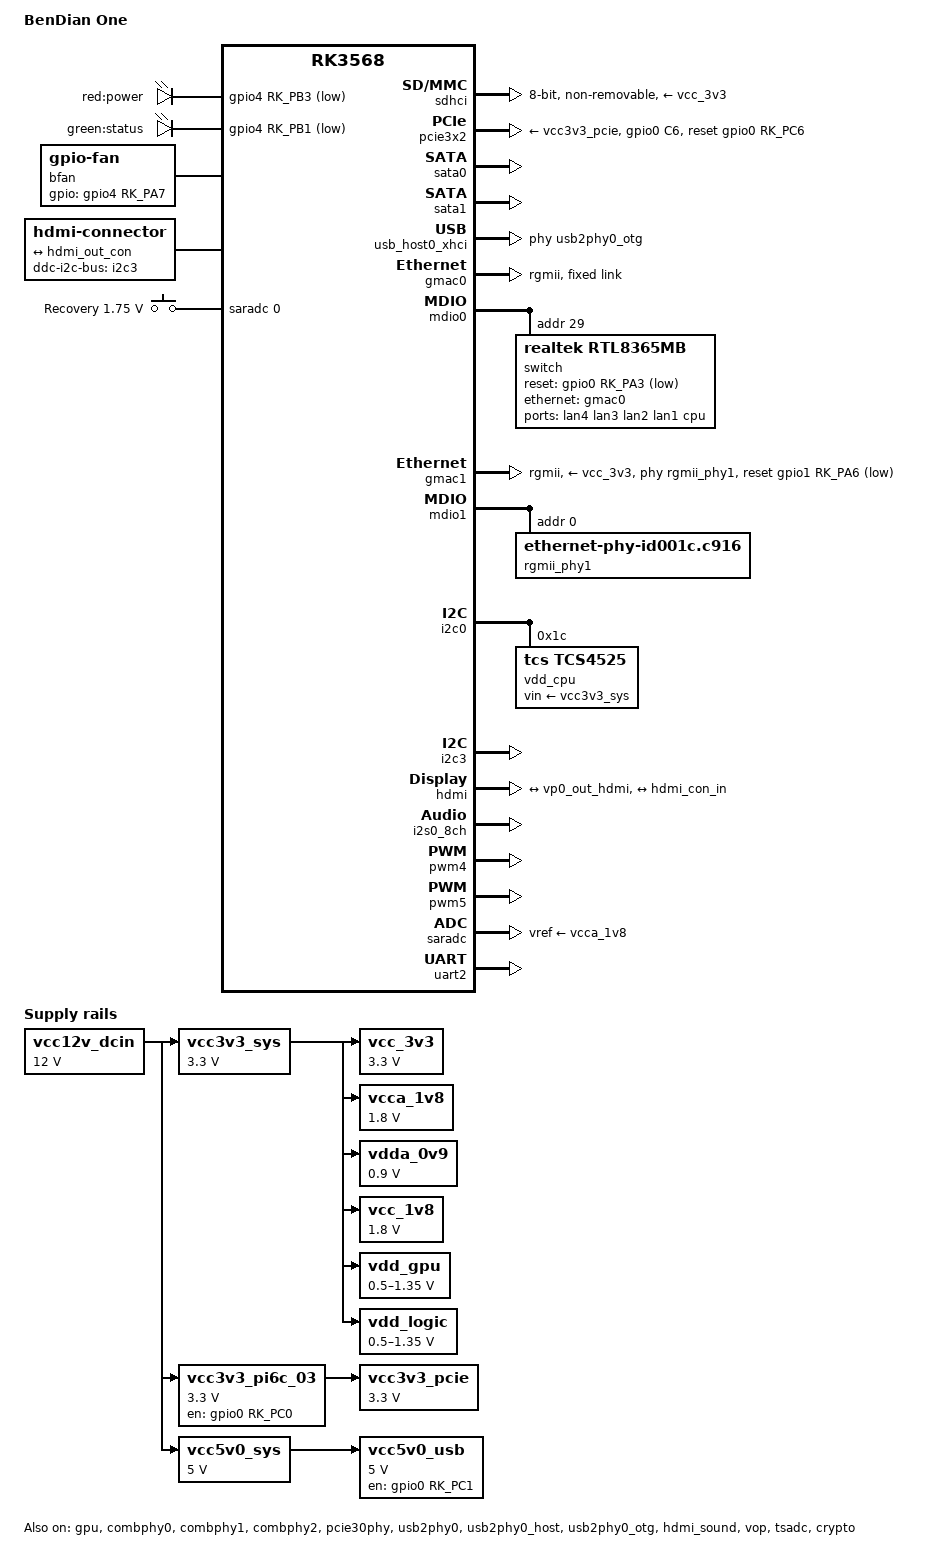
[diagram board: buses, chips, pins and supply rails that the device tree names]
// SPDX-License-Identifier: (GPL-2.0+ OR MIT)
/*
 * Copyright (c) 2024 BenDian Technology
 * Device Tree Source for BenDian One (RK3568)
 * Optimized for Linux 6.6 kernel compliance.
 * rk3568-bd-one.k6.6V1.1-2026.09.21-cnb@srv.wang
 *
 * arch/arm64/boot/dts/rockchip/Makefile
 *   dtb-$(CONFIG_ARCH_ROCKCHIP) += rk3568-bd-one.dtb
 *
 * Known issues (carried over from k6.6, to be debugged on 6.18):
 * 1、WAN 指示灯不工作；
 * 2、HDMI不工作；
 * 其他基本OK, 
 */

/dts-v1/;

#include <dt-bindings/gpio/gpio.h>
#include <dt-bindings/input/input.h>
#include <dt-bindings/leds/common.h>
#include <dt-bindings/pinctrl/rockchip.h>
#include <dt-bindings/soc/rockchip,vop2.h>
#include "rk3568.dtsi"

/ {
	model = "BenDian One";
	compatible = "bendian,bd-one", "rockchip,rk3568";

	aliases {
		ethernet0 = &gmac0;
		ethernet1 = &gmac1;
		mmc0 = &sdhci;
		led-boot     = &led_status;
		led-failsafe = &led_power;
		led-running  = &led_status;
		led-upgrade  = &led_power;
	};

	chosen {
		stdout-path = "serial2:1500000n8";
	};

	/* ---------------------------------------------------------------- */
	/*  Memory-reserved: CMA pool                                       */
	/* ---------------------------------------------------------------- */
	reserved-memory {
		#address-cells = <2>;
		#size-cells = <2>;
		ranges;

		cma: linux,cma {
			compatible = "shared-dma-pool";
			reusable;
			size = <0x0 0x10000000>;
			linux,cma-default;
		};
	};

	/* ---------------------------------------------------------------- */
	/*  LEDs                                                            */
	/* ---------------------------------------------------------------- */
	gpio-leds {
		compatible = "gpio-leds";
		pinctrl-names = "default";
		pinctrl-0 = <&power_led_pin &status_led_pin>;

		led_power: led-0 {
			label = "red:power";
			gpios = <&gpio4 RK_PB3 GPIO_ACTIVE_LOW>;
		};

		led_status: led-1 {
			label = "green:status";
			gpios = <&gpio4 RK_PB1 GPIO_ACTIVE_LOW>;
			linux,default-trigger = "heartbeat";
		};
	};

	/* ---------------------------------------------------------------- */
	/*  GPIO Fan                                                        */
	/* ---------------------------------------------------------------- */
	bfan: gpio-fan {
		compatible = "gpio-fan";
		gpios = <&gpio4 RK_PA7 GPIO_ACTIVE_HIGH>;
		gpio-fan,speed-map = <0 0 7500 1>;
		pinctrl-names = "default";
		pinctrl-0 = <&fan_pins>;
		#cooling-cells = <2>;
	};

	/* ---------------------------------------------------------------- */
	/*  HDMI connector                                                  */
	/* ---------------------------------------------------------------- */
	hdmi-con {
		compatible = "hdmi-connector";
		label = "hdmi";
		type = "a";
		status = "okay";
		ddc-i2c-bus = <&i2c3>;	/* DDC 走 I2C3，需要板子原理图确认 */

		port {
			hdmi_con_in: endpoint {
				remote-endpoint = <&hdmi_out_con>;
			};
		};
	};

	/* ---------------------------------------------------------------- */
	/*  ADC recovery button                                             */
	/* ---------------------------------------------------------------  */
	adc-keys {
		compatible = "adc-keys";
		io-channels = <&saradc 0>;
		io-channel-names = "buttons";
		keyup-threshold-microvolt = <1800000>;
		poll-interval = <100>;

		button-recovery {
			label = "Recovery";
			linux,code = <KEY_VENDOR>;
			press-threshold-microvolt = <1750000>;
		};
	};

	/* --------------------------------------------------------------- */
	/*  Power supply rails                                             */
	/* --------------------------------------------------------------- */
	vcc12v_dcin: vcc12v-dcin {
		compatible = "regulator-fixed";
		regulator-name = "vcc12v_dcin";
		regulator-always-on;
		regulator-boot-on;
		regulator-min-microvolt = <12000000>;
		regulator-max-microvolt = <12000000>;
	};

	vcc3v3_sys: vcc3v3-sys {
		compatible = "regulator-fixed";
		regulator-name = "vcc3v3_sys";
		regulator-always-on;
		regulator-boot-on;
		regulator-min-microvolt = <3300000>;
		regulator-max-microvolt = <3300000>;
		vin-supply = <&vcc12v_dcin>;
	};

	/* PCIe 3.0 SSD power:
	* GPIO0_B0 enable → vcc3v3_pi6c_03 → vcc3v3_pcie 
	*/
	vcc3v3_pi6c_03: vcc3v3-pi6c-03 {
		compatible = "regulator-fixed";
		regulator-name = "vcc3v3_pi6c_03";
		enable-active-high;
		gpios = <&gpio0 RK_PC0 GPIO_ACTIVE_HIGH>;
		pinctrl-names = "default";
		pinctrl-0 = <&ssd_pwr_en>;
		regulator-min-microvolt = <3300000>;
		regulator-max-microvolt = <3300000>;
		vin-supply = <&vcc12v_dcin>;
		regulator-enable-ramp-delay = <2000>;
	};

	vcc3v3_pcie: vcc3v3-pcie {
		compatible = "regulator-fixed";
		regulator-name = "vcc3v3_pcie";
		regulator-always-on;
		regulator-boot-on;
		regulator-min-microvolt = <3300000>;
		regulator-max-microvolt = <3300000>;
		vin-supply = <&vcc3v3_pi6c_03>;
	};

	vcc5v0_sys: vcc5v0-sys {
		compatible = "regulator-fixed";
		regulator-name = "vcc5v0_sys";
		regulator-always-on;
		regulator-boot-on;
		regulator-min-microvolt = <5000000>;
		regulator-max-microvolt = <5000000>;
		vin-supply = <&vcc12v_dcin>;
	};

	/* 5V USB power controlled by GPIO0_B1 */
	vcc5v0_usb: vcc5v0-usb {
		compatible = "regulator-fixed";
		regulator-name = "vcc5v0_usb";
		enable-active-high;
		gpios = <&gpio0 RK_PC1 GPIO_ACTIVE_HIGH>;
		pinctrl-names = "default";
		pinctrl-0 = <&usb_pwr_en>;
		regulator-min-microvolt = <5000000>;
		regulator-max-microvolt = <5000000>;
		vin-supply = <&vcc5v0_sys>;
	};

	vcc_3v3: vcc-3v3 {
		compatible = "regulator-fixed";
		regulator-name = "vcc_3v3";
		regulator-always-on;
		regulator-boot-on;
		regulator-min-microvolt = <3300000>;
		regulator-max-microvolt = <3300000>;
		vin-supply = <&vcc3v3_sys>;
	};

	vcca_1v8: vcca-1v8 {
		compatible = "regulator-fixed";
		regulator-name = "vcca_1v8";
		regulator-always-on;
		regulator-boot-on;
		regulator-min-microvolt = <1800000>;
		regulator-max-microvolt = <1800000>;
		vin-supply = <&vcc3v3_sys>;
	};

	vdda_0v9: vdda-0v9 {
		compatible = "regulator-fixed";
		regulator-name = "vdda_0v9";
		regulator-always-on;
		regulator-boot-on;
		regulator-min-microvolt = <900000>;
		regulator-max-microvolt = <900000>;
		vin-supply = <&vcc3v3_sys>;
	};

	/* 1.8V IO rail — board fixed regulator (NOT RK809 DCDC) */
	vcc_1v8: vcc-1v8 {
		compatible = "regulator-fixed";
		regulator-name = "vcc_1v8";
		regulator-always-on;
		regulator-boot-on;
		regulator-min-microvolt = <1800000>;
		regulator-max-microvolt = <1800000>;
		vin-supply = <&vcc3v3_sys>;
	};

	
	/* GPU core — PWM regulator on PWM4 (per factory DTS, NOT RK809) */
	vdd_gpu: vdd-gpu {
		compatible = "pwm-regulator";
		pwms = <&pwm4 0 5000 1>;
		pwm-supply = <&vcc3v3_sys>;
		regulator-name = "vdd_gpu";
		// regulator-always-on;
		// regulator-boot-on;
		regulator-init-microvolt = <900000>;
		regulator-min-microvolt = <500000>;
		regulator-max-microvolt = <1350000>;
		regulator-ramp-delay = <6001>;
		regulator-settling-time-up-us = <250>;
	};

	/* Logic core — PWM regulator on PWM5 (per factory DTS, NOT RK809) */
	vdd_logic: vdd-logic {
		compatible = "pwm-regulator";
		pwms = <&pwm5 0 5000 1>;
		pwm-supply = <&vcc3v3_sys>;
		regulator-name = "vdd_logic";
		// regulator-always-on;
		// regulator-boot-on;
		regulator-init-microvolt = <900000>;
		regulator-min-microvolt = <500000>;
		regulator-max-microvolt = <1350000>;
		regulator-ramp-delay = <6001>;
		regulator-settling-time-up-us = <250>;
	};
};

&cpu0_opp_table {
	opp-1992000000 {
		opp-hz = /bits/ 64 <1992000000>;
		opp-microvolt = <1050000 1050000 1150000>;
	};
};

/* ====================================================================== */
/*  CPU / GPU power domains                                               */
/* ====================================================================== */
&cpu0 {
	cpu-supply = <&vdd_cpu>;
};

&cpu1 {
	cpu-supply = <&vdd_cpu>;
};

&cpu2 {
	cpu-supply = <&vdd_cpu>;
};

&cpu3 {
	cpu-supply = <&vdd_cpu>;
};

&gpu {
	mali-supply = <&vdd_gpu>;
	status = "okay";
};

/* ====================================================================== */
/*  eMMC -OK  use hs200 mode                                              */
/* ====================================================================== */
&sdhci {
	bus-width = <8>;
	max-frequency = <200000000>;
	non-removable;
	pinctrl-names = "default";
	pinctrl-0 = <&emmc_bus8 &emmc_clk &emmc_cmd>;
	mmc-hs200-1_8v;
	vmmc-supply = <&vcc_3v3>;
	vqmmc-supply = <&vcc_1v8>;
	status = "okay";
};

/* ====================================================================== */
/*  Combo PHYs                                                            */
/* ====================================================================== */
/* combphy0 → SATA0 */
&combphy0 {
	status = "okay";
};

/* combphy1 → SATA1 (port 1) / USB 3.0 OTG */
&combphy1 {
	status = "okay";
};

/* combphy2 → PCIe 2.0 (未使用) */
&combphy2 {
	status = "okay";
};

/* ====================================================================== */
/*  PCIe                                                                  */
/* ====================================================================== */
/* PCIe 2.0 x1 -原厂启用的*/
// 启用报：rockchip-dw-pcie 3c0000000.pcie: Phy link never came up
// &pcie2x1 {
// 	status = "okay";
// 	pinctrl-names = "default";
// 	pinctrl-0 = <&pcie20_reset_pin>;
// 	reset-gpios = <&gpio3 RK_PC1 GPIO_ACTIVE_HIGH>;
// 	vpcie3v3-supply = <&vcc3v3_sys>;
// };

/* PCIe 3.0 x2 — (available, e.g. dual NVMe or other) */
&pcie30phy {
	data-lanes = <1 2>;
	status = "okay";
};

&pcie3x2 {
	aspm-no-l0s;
	status = "okay";
	pinctrl-names = "default";
	pinctrl-0 = <&pcie30_reset_pin>;
	reset-gpios = <&gpio0 RK_PC6 GPIO_ACTIVE_HIGH>;
	reset-assert-us = <10000>;    /* reset 保持 10ms */
    	reset-deassert-us = <10000>;  /* reset 释放后等待 10ms */
	vpcie3v3-supply = <&vcc3v3_pcie>;
	
};

/* ====================================================================== */
/*  SATA      2个SATA接口                                                 */
/* ====================================================================== */
&sata0 {
	status = "okay";
};

&sata1 {
	status = "okay";
};

/* ====================================================================== */
/*  USB                                                                   */
/* ====================================================================== */
/* USB 3.0 OTG (Type-C / Type-A)，原厂是启用的，开启后报：
*  rockchip-naneng-combphy fe820000.phy: phy type select 4 overwriting type 1
config
CONFIG_USB_DWC3=y
CONFIG_USB_DWC3_HOST=y
CONFIG_USB_DWC3_OF_SIMPLE=y
*/
&usb2phy0 {
	status = "okay";
};

&usb2phy0_host {
	status = "okay";
	phy-supply = <&vcc5v0_usb>;
};

&usb2phy0_otg {
	status = "okay";
	phy-supply = <&vcc5v0_usb>;
};

&usb_host0_xhci {
	status = "okay";
	 /*核对原厂实际使用phy@fe820000  combphy0*/
	phys = <&usb2phy0_otg>, <&combphy0 PHY_TYPE_USB3>; 
	phy-names = "usb2-phy", "usb3-phy";
	extcon = <&usb2phy0>;
	//phys-supply = <&vcc_3v3>; 

};

/* USB 2.0 Host (EHCI/OHCI) */
// &usb2phy1 {
// 	status = "okay";
// };

// &usb2phy1_host {
// 	phy-supply = <&vcc5v0_usb>;
// 	status = "okay";
// };

// &usb2phy1_otg {
// 	status = "okay";
// };
// /* 原厂禁用前3项，禁用后报：
// * platform fd800000.usb: deferred probe pending
//  */
// &usb_host0_ehci {
// 	status = "okay";
// };

// &usb_host0_ohci {
// 	status = "okay";
// };

/* ====================================================================== */
/*  Ethernet                                                              */
/* ====================================================================== */
/*
 * GMAC0 — connected to RTL8365MB 5-port switch
 * 4× LAN ports (lan1~lan4) + 1× CPU port (port7, fixed 1Gbps)
 */
&gmac0 {
	assigned-clocks = <&cru SCLK_GMAC0_RX_TX>, <&cru CLK_MAC0_OUT>;
	assigned-clock-parents = <&cru SCLK_GMAC0_RGMII_SPEED>;
	assigned-clock-rates = <0>, <125000000>;
	clock_in_out = "output";
	phy-mode = "rgmii";
	pinctrl-names = "default";
	pinctrl-0 = <&gmac0_miim
		     &gmac0_tx_bus2
		     &gmac0_rx_bus2
		     &gmac0_rgmii_clk
		     &gmac0_rgmii_bus>;
	tx_delay = <0x4f>;
	rx_delay = <0x0f>;
	status = "okay";

	fixed-link {
		speed = <1000>;
		full-duplex;
	};
};

&mdio0 {
	compatible = "snps,dwmac-mdio";
	#address-cells = <1>;
	#size-cells = <0>;

	/* RTL8365MB 5-port switch */
	switch@1d {
		compatible = "realtek,rtl8365mb";
		reg = <0x1d>;
		reset-gpios = <&gpio0 RK_PA3 GPIO_ACTIVE_LOW>;

		switch_intc: interrupt-controller {
			interrupt-controller;
			#address-cells = <0>;
			#interrupt-cells = <1>;
			interrupt-parent = <&gpio0>;
			interrupts = <RK_PA4 IRQ_TYPE_LEVEL_LOW>;
		};

		ports {
			#address-cells = <1>;
			#size-cells = <0>;

			port@0 {
				reg = <0>;
				label = "lan4";
			};

			port@1 {
				reg = <1>;
				label = "lan3";
			};

			port@2 {
				reg = <2>;
				label = "lan2";
			};

			port@3 {
				reg = <3>;
				label = "lan1";
			};

			port@7 {
				reg = <7>;
				label = "cpu";
				ethernet = <&gmac0>;
				phy-mode = "rgmii";

				fixed-link {
					speed = <1000>;
					full-duplex;
				};
			};
		};
	};
};
/*
 * GMAC1 — direct RTL8211 PHY (1× WAN)
 */
&gmac1 {
	assigned-clocks = <&cru SCLK_GMAC1_RX_TX>, <&cru CLK_MAC1_OUT>;
	assigned-clock-parents = <&cru SCLK_GMAC1_RGMII_SPEED>;
	assigned-clock-rates = <0>, <125000000>;
	clock_in_out = "output";
	phy-mode = "rgmii";
	phy-handle = <&rgmii_phy1>;
	phy-supply = <&vcc_3v3>;
	pinctrl-names = "default";
	pinctrl-0 = <&gmac1m0_miim
		     &gmac1m0_tx_bus2
		     &gmac1m0_rx_bus2
		     &gmac1m0_rgmii_clk
		     &gmac1m0_rgmii_bus>;
	snps,reset-gpio = <&gpio1 RK_PA6 GPIO_ACTIVE_LOW>;
	snps,reset-active-low;
	snps,reset-delays-us = <0 20000 100000>;
	tx_delay = <0x4f>;
	rx_delay = <0x0f>;
	status = "okay";
};

&mdio1 {
	rgmii_phy1: ethernet-phy@0 {
		compatible = "ethernet-phy-id001c.c916", 
		 	     "ethernet-phy-ieee802.3-c22";
		reg = <0>;
		realtek,led-data = <0x17b>;
	};
};

/* ====================================================================== */
/*  I2C0 — CPU voltage regulator (TCS4525)                                */
/* ====================================================================== */
&i2c0 {
	status = "okay";

	vdd_cpu: regulator@1c {
		compatible = "tcs,tcs4525";
		reg = <0x1c>;
		fcs,suspend-voltage-selector = <1>;
		regulator-name = "vdd_cpu";
		regulator-always-on;
		regulator-boot-on;
		regulator-init-microvolt = <900000>;
		regulator-min-microvolt = <712500>;
		regulator-max-microvolt = <1390000>;
		regulator-ramp-delay = <2300>;
		vin-supply = <&vcc3v3_sys>;

		regulator-state-mem {
			regulator-off-in-suspend;
		};
	};

};

/* ====================================================================== */
/*  I2C3 — board peripherals                                             */
/* ====================================================================== */
&i2c3 {
	status = "okay";
};

/* ====================================================================== */
/*  HDMI                                                                  */
/* ====================================================================== */
&hdmi {
	avdd-0v9-supply = <&vdda_0v9>;
	avdd-1v8-supply = <&vcca_1v8>;
	ddc-i2c-bus = <&i2c3>;		/* 与 hdmi-con 保持一致 */
	status = "okay";

	ports {
		#address-cells = <1>;
		#size-cells = <0>;

		/* port@0 = 输入：从 VOP0 收视频数据 */
		port@0 {
			reg = <0>;
			#address-cells = <1>;
			#size-cells = <0>;

			hdmi_in_vp0: endpoint@0 {
				reg = <0>;
				remote-endpoint = <&vp0_out_hdmi>;
			};
		};

		/* port@1 = 输出：送到 HDMI 连接器 */
		port@1 {
			reg = <1>;
			#address-cells = <1>;
			#size-cells = <0>;

			hdmi_out_con: endpoint@0 {
				reg = <0>;
				remote-endpoint = <&hdmi_con_in>;
			};
		};
	};
};

&hdmi_sound {
	status = "okay";
};

/* ====================================================================== */
/*  VOP                                                                   */
/* ====================================================================== */
&vop {
	compatible = "rockchip,rk3568-vop";
	assigned-clocks = <&cru DCLK_VOP0>, <&cru DCLK_VOP1>;
	assigned-clock-parents = <&pmucru PLL_HPLL>, <&cru CLK_RTC_32K>;
	status = "okay";
};

&vp0 {
	vp0_out_hdmi: endpoint@ROCKCHIP_VOP2_EP_HDMI0 {
		reg = <ROCKCHIP_VOP2_EP_HDMI0>;
		remote-endpoint = <&hdmi_in_vp0>;
	};
};

&vop_mmu {
	status = "okay";
};

/* ====================================================================== */
/*  Audio (I2S0 → HDMI)                                                  */
/* ====================================================================== */
&i2s0_8ch {
	status = "okay";
};

/* ====================================================================== */
/*  PWM regulators                                                        */
/* ====================================================================== */
&pwm4 {
	status = "okay";
};

&pwm5 {
	status = "okay";
};

/* ====================================================================== */
/*  Thermal / TSADC                                                       */
/* ====================================================================== */
&tsadc {
	rockchip,hw-tshut-mode = <1>;    /* CRU reset */
	rockchip,hw-tshut-polarity = <0>;/* active low */
	status = "okay";
};

&cpu_thermal {

	trips {
		cpu_trip_active_low: cpu-trip-active-low {
			temperature = <55000>;
			hysteresis = <2000>;
			type = "active";
		};

		cpu_trip_active_med: cpu-trip-active-med {
			temperature = <70000>;
			hysteresis = <2000>;
			type = "active";
		};

		cpu_trip_active_high: cpu-trip-active-high {
			temperature = <85000>;
			hysteresis = <2000>;
			type = "hot";
		};
	};

	cooling-maps {

		cpu-active-low {
			cooling-device = <&bfan 1 1>;
			trip = <&cpu_trip_active_low>;
		};

		cpu-active-med {
			cooling-device = <&bfan 1 1>;
			trip = <&cpu_trip_active_med>;
		};

		cpu-active-high {
			cooling-device = <&bfan 1 1>;
			trip = <&cpu_trip_active_high>;
		};
	};
};

/* ====================================================================== */
/*  SARADC                                                                */
/* ====================================================================== */
&saradc {
	vref-supply = <&vcca_1v8>;
	status = "okay";
};

/* ====================================================================== */
/*  Crypto / RNG                                                          */
/* ====================================================================== */
&crypto {
	status = "okay";
};

/* ====================================================================== */
/*  IO Domains (PMU GRF)                                                  */
/* ====================================================================== */
&pmu_io_domains {
	compatible = "rockchip,rk3568-pmu-io-voltage-domain";
	status = "okay";
	pmuio1-supply = <&vcc_3v3>;
	pmuio2-supply = <&vcc_3v3>;
	vccio1-supply = <&vcc_3v3>;
	vccio2-supply = <&vcc_1v8>;
	vccio3-supply = <&vcc_3v3>;
	vccio4-supply = <&vcc_3v3>;
	vccio5-supply = <&vcc_3v3>;
	vccio6-supply = <&vcc_3v3>;
	vccio7-supply = <&vcc_3v3>;
};

/* ====================================================================== */
/*  UART2 — debug console                                                 */
/* ====================================================================== */
&uart2 {
	status = "okay";
};

/* ====================================================================== */
/*  Pinctrl additions                                                     */
/* ====================================================================== */
&pinctrl {

	fan {
		fan_pins: fan-pins {
			rockchip,pins = <4 RK_PA7 RK_FUNC_GPIO &pcfg_pull_none>;
		};
	};

	gpio-leds {
		power_led_pin: power-led-pin {
			rockchip,pins = <4 RK_PB3 RK_FUNC_GPIO &pcfg_pull_none>;
		};

		status_led_pin: status-led-pin {
			rockchip,pins = <4 RK_PB1 RK_FUNC_GPIO &pcfg_pull_none>;
		};
	};

	pcie20 {
		pcie20_reset_pin: pcie20-reset-pin {
			rockchip,pins = <3 RK_PC1 RK_FUNC_GPIO &pcfg_pull_down>;
		};
	};

	pcie30 {
		pcie30_reset_pin: pcie30-reset-pin {
			rockchip,pins = <0 RK_PC6 RK_FUNC_GPIO &pcfg_pull_down>;
		};

		ssd_pwr_en: ssd-pwr-en {
			rockchip,pins = <0 RK_PC0 RK_FUNC_GPIO &pcfg_pull_down>;
		};
	};

	usb {
		usb_pwr_en: usb-pwr-en {
			rockchip,pins = <0 RK_PC1 RK_FUNC_GPIO &pcfg_pull_down>;
		};
	};
};
